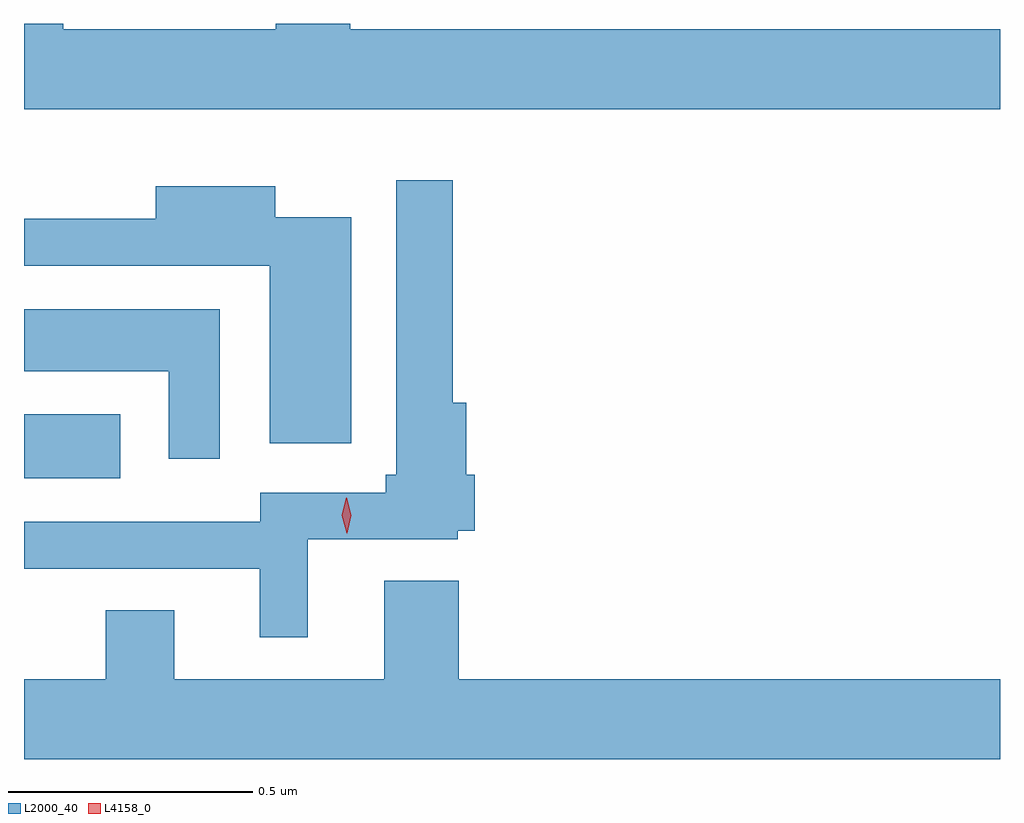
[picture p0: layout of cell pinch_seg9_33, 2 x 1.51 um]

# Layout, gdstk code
import gdstk
lib = gdstk.Library(unit=1e-6, precision=1e-09)
def R(c, l, rs):  # rectangles x0, y0, x1, y1
    for r in rs: c.add(gdstk.rectangle(r[:2], r[2:], *l))
def P(c, l, *ps):  # polygons
    for p in ps: c.add(gdstk.Polygon(p, *l))
L2000_40 = (2000, 40)
L4158_0 = (4158, 0)

pinch_seg9_33 = lib.new_cell('pinch_seg9_33')
R(pinch_seg9_33, L2000_40, [(922.943,1235.624,923.14,1235.755)])
P(pinch_seg9_33, L2000_40, [(924.943,1236.544),(923.612,1236.544),(923.612,1236.556),(923.459,1236.556),(923.459,1236.544),(923.023,1236.544),(923.023,1236.556),(922.943,1236.556),(922.943,1236.38),(924.943,1236.38)],
  [(923.524,1235.499),(923.832,1235.499),(923.832,1235.517),(923.867,1235.517),(923.867,1235.631),(923.849,1235.631),(923.849,1235.779),(923.822,1235.779),(923.822,1236.235),(923.706,1236.235),(923.706,1235.631),(923.684,1235.631),(923.684,1235.595),(923.427,1235.595),(923.427,1235.535),(922.943,1235.535),(922.943,1235.439),(923.426,1235.439),(923.426,1235.298),(923.524,1235.298)],
  [(923.614,1236.159),(923.458,1236.159),(923.458,1236.223),(923.213,1236.223),(923.213,1236.156),(922.943,1236.156),(922.943,1236.06),(923.447,1236.06),(923.447,1235.696),(923.614,1235.696)],
  [(923.344,1235.971),(922.943,1235.971),(922.943,1235.843),(923.24,1235.843),(923.24,1235.664),(923.344,1235.664)],
  [(924.943,1235.212),(923.834,1235.212),(923.834,1235.414),(923.681,1235.414),(923.681,1235.212),(923.251,1235.212),(923.251,1235.354),(923.111,1235.354),(923.111,1235.212),(922.943,1235.212),(922.943,1235.048),(924.943,1235.048)])
P(pinch_seg9_33, L4158_0, [(923.604,1235.512),(923.594,1235.548),(923.603,1235.584),(923.604,1235.584),(923.604,1235.584),(923.614,1235.548),(923.605,1235.512),(923.605,1235.512)])

lib.write_gds('pinch_seg9_33.gds')
